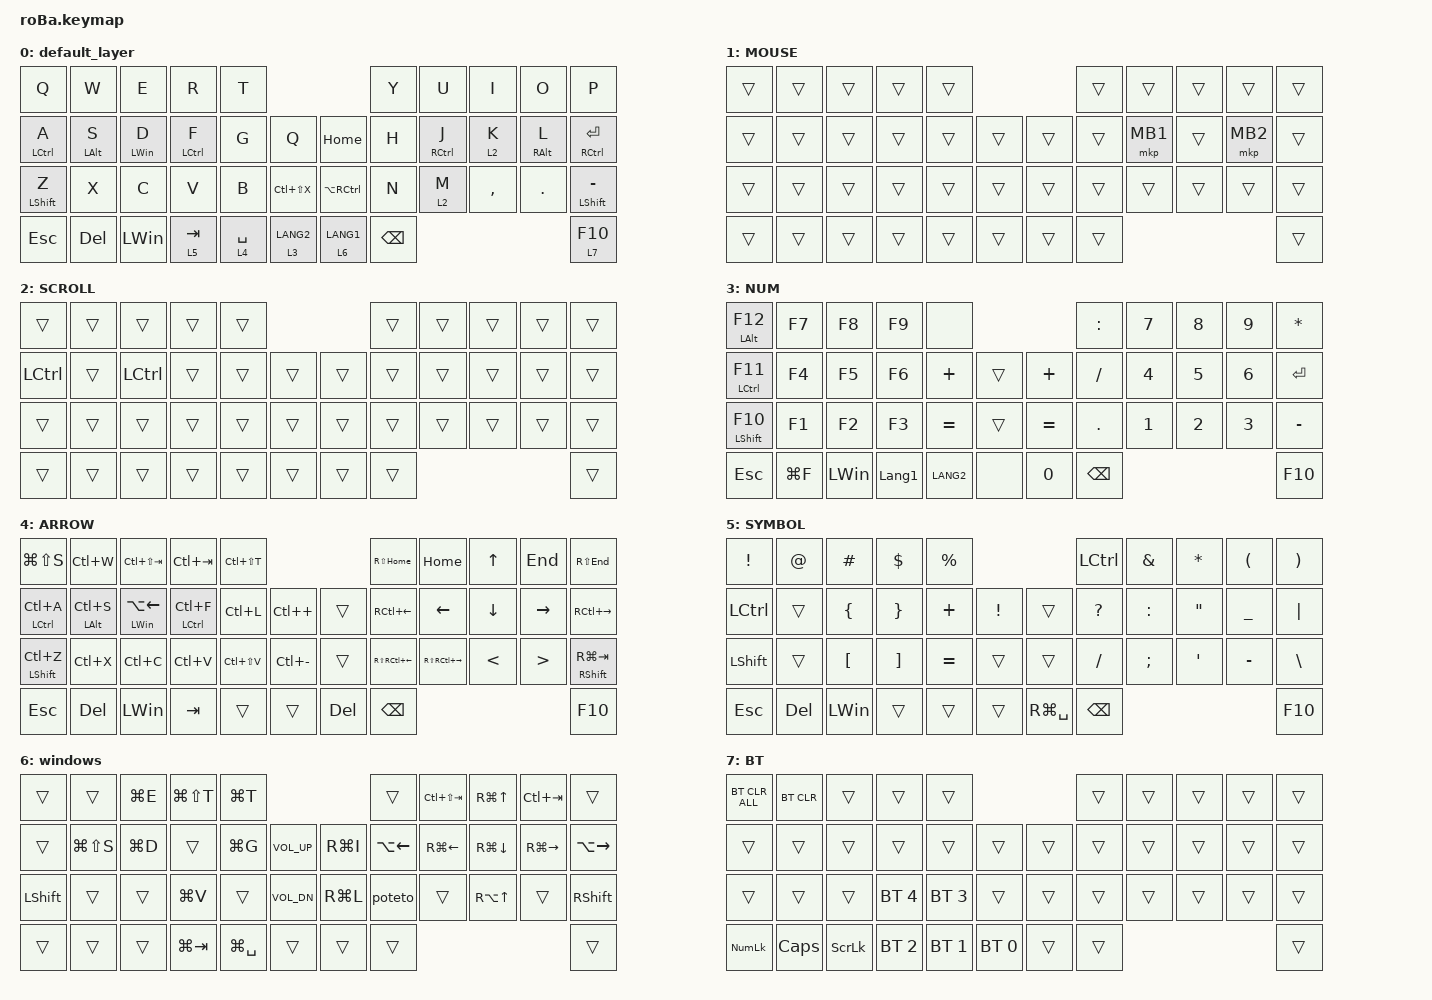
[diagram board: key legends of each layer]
#include <behaviors.dtsi>
#include <dt-bindings/zmk/bt.h>
#include <dt-bindings/zmk/keys.h>
#include <dt-bindings/zmk/pointing.h>

#define MOUSE 1

&mt {
    flavor = "balanced";
    quick-tap-ms = <0>;
};

/ {
    combos {
        compatible = "zmk,combos";

        tab {
            bindings = <&kp TAB>;
            key-positions = <11 12>;
        };

        shift_tab {
            bindings = <&kp LS(TAB)>;
            key-positions = <12 13>;
        };

        muhennkann {
            bindings = <&to_layer_0 INT_MUHENKAN>;
            key-positions = <11 10>;
        };

        double_quotation {
            bindings = <&kp DOUBLE_QUOTES>;
            key-positions = <20 21>;
        };

        eq {
            bindings = <&kp EQUAL>;
            key-positions = <24 25>;
        };
    };

    macros {
        to_layer_0: to_layer_0 {
            compatible = "zmk,behavior-macro-one-param";
            #binding-cells = <1>;
            bindings = <&to 0 &macro_param_1to1 &kp MACRO_PLACEHOLDER>;
            label = "TO_LAYER_0";
        };

        poteto: poteto {
            compatible = "zmk,behavior-macro";
            #binding-cells = <0>;
            bindings = <&kp O &kp I &kp M &kp O &kp M &kp A &kp Z &kp I &kp P &kp O &kp T &kp E &kp T &kp O &kp N3 &kp AT &kp N8>;
            label = "POTETO";
        };

        exit_AML: exit_AML {
            compatible = "zmk,behavior-macro";
            wait-ms = <0>;
            tap-ms = <0>;
            #binding-cells = <0>;
            bindings = <&tog_off 1>;
            label = "exit_AML";
        };

        kp_exit_AML: kp_exit_AML {
            compatible = "zmk,behavior-macro-one-param";
            wait-ms = <0>;
            tap-ms = <0>;
            #binding-cells = <1>;
            bindings = <&macro_param_1to1 &kp MACRO_PLACEHOLDER &exit_AML>;
            label = "KP_exit_AML";
        };
    };

    behaviors {
        lt_to_layer_0: lt_to_layer_0 {
            compatible = "zmk,behavior-hold-tap";
            label = "LAYER_TAP_TO_0";
            bindings = <&mo>, <&to_layer_0>;

            #binding-cells = <2>;
            tapping-term-ms = <200>;
        };

        tog_off: toggle_layer_off {
            compatible = "zmk,behavior-toggle-layer";
            #binding-cells = <1>;
            display-name = "Toggle Layer Off";
            toggle-mode = "off";
        };

        mt_exit_AML_on_tap: mt_exit_AML_on_tap {
            compatible = "zmk,behavior-hold-tap";
            label = "MT_exit_AML_ON_TAP";
            bindings = <&kp>, <&kp_exit_AML>;

            #binding-cells = <2>;
            tapping-term-ms = <200>;
            flavor = "balanced";
            quick-tap-ms = <200>;
        };
    };

    keymap {
        compatible = "zmk,keymap";

        default_layer {
            bindings = <
&kp Q                             &kp W           &kp E           &kp R                        &kp T                                          &kp Y          &kp U        &kp I      &kp O            &kp P
&mt_exit_AML_on_tap LCTRL A       &mt LEFT_ALT S  &mt LEFT_WIN D  &mt_exit_AML_on_tap LCTRL F  &kp G        &kp Q              &kp HOME       &kp H          &mt RCTRL J  &lt 2 K    &mt RIGHT_ALT L  &mt RCTRL ENTER
&mt_exit_AML_on_tap LEFT_SHIFT Z  &kp X           &kp C           &kp V                        &kp B        &kp LC(LS(X))      &kp LA(RCTRL)  &kp N          &lt 2 M      &kp COMMA  &kp PERIOD       &mt LEFT_SHIFT MINUS
&kp ESC                           &kp DEL         &kp LEFT_WIN    &lt 5 TAB                    &lt 4 SPACE  &lt 3 LANG2        &lt 6 LANG1    &kp BACKSPACE                                           &lt 7 F10
            >;
        };

        MOUSE {
            bindings = <
&trans  &trans  &trans  &trans  &trans                      &trans  &trans    &trans  &trans    &trans
&trans  &trans  &trans  &trans  &trans  &trans      &trans  &trans  &mkp MB1  &trans  &mkp MB2  &trans
&trans  &trans  &trans  &trans  &trans  &trans      &trans  &trans  &trans    &trans  &trans    &trans
&trans  &trans  &trans  &trans  &trans  &trans      &trans  &trans                              &trans
            >;
        };

        SCROLL {
            bindings = <
&trans     &trans  &trans     &trans  &trans                      &trans  &trans  &trans  &trans  &trans
&kp LCTRL  &trans  &kp LCTRL  &trans  &trans  &trans      &trans  &trans  &trans  &trans  &trans  &trans
&trans     &trans  &trans     &trans  &trans  &trans      &trans  &trans  &trans  &trans  &trans  &trans
&trans     &trans  &trans     &trans  &trans  &trans      &trans  &trans                          &trans
            >;
        };

        NUM {
            bindings = <
&mt LEFT_ALT F12    &kp F7     &kp F8        &kp F9          &none                                &kp COLON      &kp N7        &kp N8        &kp N9        &kp ASTERISK
&mt LCTRL F11       &kp F4     &kp F5        &kp F6          &kp PLUS   &trans      &kp PLUS      &kp SLASH      &kp NUMBER_4  &kp N5        &kp NUMBER_6  &kp ENTER
&mt LEFT_SHIFT F10  &kp F1     &kp F2        &kp F3          &kp EQUAL  &trans      &kp EQUAL     &kp DOT        &kp NUMBER_1  &kp NUMBER_2  &kp NUMBER_3  &kp MINUS
&kp ESC             &kp LG(F)  &kp LEFT_WIN  &kp LANGUAGE_1  &kp LANG2  &none       &kp NUMBER_0  &kp BACKSPACE                                            &kp F10
            >;
        };

        ARROW {
            bindings = <
&kp LG(LS(S))         &kp LC(W)           &kp LC(LS(TAB))        &kp LC(TAB)      &kp LC(LS(T))                                 &kp RS(HOME)      &kp HOME           &kp UP_ARROW    &kp END           &kp RS(END)
&mt LCTRL LC(A)       &mt LEFT_ALT LC(S)  &mt LEFT_WIN LA(LEFT)  &mt LCTRL LC(F)  &kp LC(L)      &kp LC(PLUS)       &trans      &kp RC(LEFT)      &kp LEFT_ARROW     &kp DOWN_ARROW  &kp RIGHT_ARROW   &kp RC(RIGHT)
&mt LEFT_SHIFT LC(Z)  &kp LC(X)           &kp LC(C)              &kp LC(V)        &kp LC(LS(V))  &kp LC(MINUS)      &trans      &kp RS(RC(LEFT))  &kp RS(RC(RIGHT))  &kp LESS_THAN   &kp GREATER_THAN  &mt RIGHT_SHIFT RG(TAB)
&kp ESC               &kp DEL             &kp LEFT_WIN           &kp TAB          &trans         &trans             &kp DELETE  &kp BACKSPACE                                                          &kp F10
            >;
        };

        SYMBOL {
            bindings = <
&kp EXCLAMATION  &kp AT_SIGN  &kp HASH          &kp DOLLAR         &kp PERCENT                                      &kp LCTRL      &kp AMPERSAND  &kp ASTERISK       &kp LEFT_PARENTHESIS  &kp RIGHT_PARENTHESIS
&kp LCTRL        &trans       &kp LEFT_BRACE    &kp RIGHT_BRACE    &kp PLUS     &kp EXCLAMATION      &trans         &kp QUESTION   &kp COLON      &kp DOUBLE_QUOTES  &kp UNDERSCORE        &kp PIPE
&kp LEFT_SHIFT   &trans       &kp LEFT_BRACKET  &kp RIGHT_BRACKET  &kp EQUAL    &trans               &trans         &kp SLASH      &kp SEMICOLON  &kp SINGLE_QUOTE   &kp MINUS             &kp BACKSLASH
&kp ESCAPE       &kp DELETE   &kp LEFT_WIN      &trans             &trans       &trans               &kp RG(SPACE)  &kp BACKSPACE                                                          &kp F10
            >;
        };

        windows {
            bindings = <
&trans          &trans         &kp LG(E)  &kp LG(LS(T))  &kp LG(T)                                      &trans        &kp LC(LS(TAB))  &kp RG(UP_ARROW)    &kp LC(TAB)    &trans
&trans          &kp LG(LS(S))  &kp LG(D)  &trans         &kp LG(G)      &kp C_VOLUME_UP      &kp RG(I)  &kp LA(LEFT)  &kp RG(LEFT)     &kp RG(DOWN_ARROW)  &kp RG(RIGHT)  &kp LA(RIGHT)
&kp LEFT_SHIFT  &trans         &trans     &kp LG(V)      &trans         &kp C_VOL_DN         &kp RG(L)  &poteto       &trans           &kp RA(UP_ARROW)    &trans         &kp RSHFT
&trans          &trans         &trans     &kp LG(TAB)    &kp LG(SPACE)  &trans               &trans     &trans                                                            &trans
            >;
        };

        BT {
            bindings = <
&bt BT_CLR_ALL  &bt BT_CLR    &trans          &trans        &trans                                  &trans  &trans  &trans  &trans  &trans
&trans          &trans        &trans          &trans        &trans        &trans            &trans  &trans  &trans  &trans  &trans  &trans
&trans          &trans        &trans          &bt BT_SEL 4  &bt BT_SEL 3  &trans            &trans  &trans  &trans  &trans  &trans  &trans
&kp KP_NUMLOCK  &kp CAPSLOCK  &kp SCROLLLOCK  &bt BT_SEL 2  &bt BT_SEL 1  &bt BT_SEL 0      &trans  &trans                          &trans
            >;
        };
    };
};
